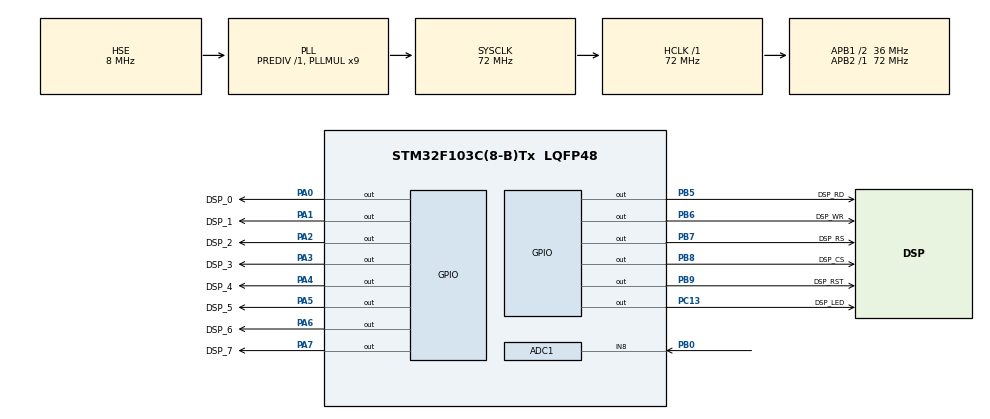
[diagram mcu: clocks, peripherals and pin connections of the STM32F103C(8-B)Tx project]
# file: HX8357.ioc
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ADC1.Channel-0\#ChannelRegularConversion=ADC_CHANNEL_8
ADC1.ExternalTrigConv=ADC_EXTERNALTRIGCONV_T3_TRGO
ADC1.NbrOfConversionFlag=1
ADC1.Rank-0\#ChannelRegularConversion=1
ADC1.SamplingTime-0\#ChannelRegularConversion=ADC_SAMPLETIME_1CYCLE_5
ADC1.master=1
Mcu.Family=STM32F1
Mcu.Name=STM32F103C(8-B)Tx
Mcu.Package=LQFP48
NVIC.PriorityGroup=NVIC_PRIORITYGROUP_4
NVIC.TIM3_IRQn=true\:0\:0\:false\:false\:true
PA0-WKUP.GPIO_Label=DSP_0
PA0-WKUP.GPIO_ModeDefaultOutputPP=GPIO_MODE_OUTPUT_PP
PA0-WKUP.GPIO_Speed=GPIO_SPEED_FREQ_HIGH
PA0-WKUP.PinState=GPIO_PIN_RESET
PA0-WKUP.Signal=GPIO_Output
PA1.GPIO_Label=DSP_1
PA1.GPIO_ModeDefaultOutputPP=GPIO_MODE_OUTPUT_PP
PA1.GPIO_Speed=GPIO_SPEED_FREQ_HIGH
PA1.PinState=GPIO_PIN_RESET
PA1.Signal=GPIO_Output
PA13.Mode=Serial_Wire
PA13.Signal=SYS_JTMS-SWDIO
PA14.Mode=Serial_Wire
PA14.Signal=SYS_JTCK-SWCLK
PA2.GPIO_Label=DSP_2
PA2.GPIO_ModeDefaultOutputPP=GPIO_MODE_OUTPUT_PP
PA2.GPIO_Speed=GPIO_SPEED_FREQ_HIGH
PA2.PinState=GPIO_PIN_RESET
PA2.Signal=GPIO_Output
PA3.GPIO_Label=DSP_3
PA3.GPIO_ModeDefaultOutputPP=GPIO_MODE_OUTPUT_PP
PA3.GPIO_Speed=GPIO_SPEED_FREQ_HIGH
PA3.PinState=GPIO_PIN_RESET
PA3.Signal=GPIO_Output
PA4.GPIO_Label=DSP_4
PA4.GPIO_ModeDefaultOutputPP=GPIO_MODE_OUTPUT_PP
PA4.GPIO_Speed=GPIO_SPEED_FREQ_HIGH
PA4.PinState=GPIO_PIN_RESET
PA4.Signal=GPIO_Output
PA5.GPIO_Label=DSP_5
PA5.GPIO_ModeDefaultOutputPP=GPIO_MODE_OUTPUT_PP
PA5.GPIO_Speed=GPIO_SPEED_FREQ_HIGH
PA5.PinState=GPIO_PIN_RESET
PA5.Signal=GPIO_Output
PA6.GPIO_Label=DSP_6
PA6.GPIO_ModeDefaultOutputPP=GPIO_MODE_OUTPUT_PP
PA6.GPIO_Speed=GPIO_SPEED_FREQ_HIGH
PA6.PinState=GPIO_PIN_RESET
PA6.Signal=GPIO_Output
PA7.GPIO_Label=DSP_7
PA7.GPIO_ModeDefaultOutputPP=GPIO_MODE_OUTPUT_PP
PA7.GPIO_Speed=GPIO_SPEED_FREQ_HIGH
PA7.PinState=GPIO_PIN_RESET
PA7.Signal=GPIO_Output
PB0.Signal=ADCx_IN8
PB5.GPIO_Label=DSP_RD
PB5.GPIO_ModeDefaultOutputPP=GPIO_MODE_OUTPUT_PP
PB5.GPIO_Speed=GPIO_SPEED_FREQ_HIGH
PB5.PinState=GPIO_PIN_RESET
PB5.Signal=GPIO_Output
PB6.GPIO_Label=DSP_WR
PB6.GPIO_ModeDefaultOutputPP=GPIO_MODE_OUTPUT_PP
PB6.GPIO_Speed=GPIO_SPEED_FREQ_HIGH
PB6.PinState=GPIO_PIN_RESET
PB6.Signal=GPIO_Output
PB7.GPIO_Label=DSP_RS
PB7.GPIO_ModeDefaultOutputPP=GPIO_MODE_OUTPUT_PP
PB7.GPIO_Speed=GPIO_SPEED_FREQ_HIGH
PB7.PinState=GPIO_PIN_RESET
PB7.Signal=GPIO_Output
PB8.GPIO_Label=DSP_CS
PB8.GPIO_ModeDefaultOutputPP=GPIO_MODE_OUTPUT_PP
PB8.GPIO_Speed=GPIO_SPEED_FREQ_HIGH
PB8.PinState=GPIO_PIN_RESET
PB8.Signal=GPIO_Output
PB9.GPIO_Label=DSP_RST
PB9.GPIO_ModeDefaultOutputPP=GPIO_MODE_OUTPUT_PP
PB9.GPIO_Speed=GPIO_SPEED_FREQ_HIGH
PB9.PinState=GPIO_PIN_RESET
PB9.Signal=GPIO_Output
PC13-TAMPER-RTC.GPIO_Label=DSP_LED
PC13-TAMPER-RTC.GPIO_ModeDefaultOutputPP=GPIO_MODE_OUTPUT_PP
PC13-TAMPER-RTC.GPIO_Speed=GPIO_SPEED_FREQ_HIGH
PC13-TAMPER-RTC.PinState=GPIO_PIN_RESET
PC13-TAMPER-RTC.Signal=GPIO_Output
PD0-OSC_IN.Mode=HSE-External-Oscillator
PD0-OSC_IN.Signal=RCC_OSC_IN
PD1-OSC_OUT.Mode=HSE-External-Oscillator
PD1-OSC_OUT.Signal=RCC_OSC_OUT
ProjectManager.HeapSize=0x200
ProjectManager.StackSize=0x400
ProjectManager.TargetToolchain=Makefile
RCC.ADCPresc=RCC_ADCPCLK2_DIV6
RCC.AHBFreq_Value=72000000
RCC.APB1CLKDivider=RCC_HCLK_DIV2
RCC.APB1Freq_Value=36000000
RCC.APB1TimFreq_Value=72000000
RCC.APB2Freq_Value=72000000
RCC.APB2TimFreq_Value=72000000
RCC.HCLKFreq_Value=72000000
RCC.PLLMUL=RCC_PLL_MUL9
RCC.PLLSourceVirtual=RCC_PLLSOURCE_HSE
RCC.SYSCLKFreq_VALUE=72000000
RCC.SYSCLKSource=RCC_SYSCLKSOURCE_PLLCLK
RCC.USBFreq_Value=72000000
SH.ADCx_IN8.0=ADC1_IN8,IN8
TIM3.Period=10
TIM3.Prescaler=64-1
TIM3.TIM_MasterOutputTrigger=TIM_TRGO_UPDATE
VP_TIM3_VS_ClockSourceINT.Mode=Internal
board=HX8357

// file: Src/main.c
/**
  ******************************************************************************
  * File Name          : main.c
  * Description        : Main program body
  ******************************************************************************
  ** This notice applies to any and all portions of this file
  * that are not between comment pairs USER CODE BEGIN and
  * USER CODE END. Other portions of this file, whether
  * inserted by the user or by software development tools
  * are owned by their respective copyright owners.
  *
  * COPYRIGHT(c) 2018 STMicroelectronics
  *
  * Redistribution and use in source and binary forms, with or without modification,
  * are permitted provided that the following conditions are met:
  *   1. Redistributions of source code must retain the above copyright notice,
  *      this list of conditions and the following disclaimer.
  *   2. Redistributions in binary form must reproduce the above copyright notice,
  *      this list of conditions and the following disclaimer in the documentation
  *      and/or other materials provided with the distribution.
  *   3. Neither the name of STMicroelectronics nor the names of its contributors
  *      may be used to endorse or promote products derived from this software
  *      without specific prior written permission.
  *
  * THIS SOFTWARE IS PROVIDED BY THE COPYRIGHT HOLDERS AND CONTRIBUTORS "AS IS"
  * AND ANY EXPRESS OR IMPLIED WARRANTIES, INCLUDING, BUT NOT LIMITED TO, THE
  * IMPLIED WARRANTIES OF MERCHANTABILITY AND FITNESS FOR A PARTICULAR PURPOSE ARE
  * DISCLAIMED. IN NO EVENT SHALL THE COPYRIGHT HOLDER OR CONTRIBUTORS BE LIABLE
  * FOR ANY DIRECT, INDIRECT, INCIDENTAL, SPECIAL, EXEMPLARY, OR CONSEQUENTIAL
  * DAMAGES (INCLUDING, BUT NOT LIMITED TO, PROCUREMENT OF SUBSTITUTE GOODS OR
  * SERVICES; LOSS OF USE, DATA, OR PROFITS; OR BUSINESS INTERRUPTION) HOWEVER
  * CAUSED AND ON ANY THEORY OF LIABILITY, WHETHER IN CONTRACT, STRICT LIABILITY,
  * OR TORT (INCLUDING NEGLIGENCE OR OTHERWISE) ARISING IN ANY WAY OUT OF THE USE
  * OF THIS SOFTWARE, EVEN IF ADVISED OF THE POSSIBILITY OF SUCH DAMAGE.
  *
  ******************************************************************************
  */
#include "main.h"
#include "stm32f1xx_hal.h"
#include "adc.h"
#include "tim.h"
#include "gpio.h"

/* USER CODE BEGIN Includes */
#include <math.h>
#include "hx8357.h"
#include "utoa.h"
// #include "myimage.h"

#define M_PI 3.14159
/* USER CODE END Includes */

/* USER CODE BEGIN PV */
/* Private variables ---------------------------------------------------------*/
extern TIM_HandleTypeDef htim3;
extern uint16_t BACK_COLOR,POINT_COLOR;
extern uint16_t tft_W;
extern uint16_t tft_H;

uint32_t adcResult = 0;
uint32_t max_result = 0;
float real_result[480] = {0};

uint16_t adc_counter = 0;
uint16_t i = 0;

uint16_t buff_clean[480] = {0};
//uint16_t coord_x[480] = {0};
uint16_t buff_ray[480] = {0};

void write_text(uint16_t i);
void write_grid(void);

void fill_buff(uint16_t i)
{
  while(adc_counter < 48) // Пока количество измерений меньше N
  {
    adcResult += HAL_ADC_GetValue(&hadc1); // Сумируем полученные значения ацп
    adc_counter++; // Увеличиваем счетчик измерений
  }

  buff_ray[i] = tft_H-45-adcResult/adc_counter/18; // Вычисляем среднее значение
  real_result[i] = adcResult/adc_counter*0.82; // 3300/4096=0.80566 Вычисляем среднее значение

  // if(real_result[i]<500) real_result[i] = 0;
  // if(real_result[i]>500) real_result[i] -= 500;
  // real_result[i] *= .4; // значение в барах

  adcResult = 0; // Обнуляем значение
  adc_counter = 0; // Обнуляем счетчик измерений
  if(real_result[i]>max_result) max_result = real_result[i]; // save max value
}

void rotate_buff(uint16_t r)
{
    uint16_t tmp;
    for(i = 0; i < r; i++) // scroll buff_ray
    {
      tmp = buff_ray[tft_W-1];
      for(uint16_t i = tft_W-1; i; i--)
      {
        buff_ray[i] = buff_ray[i-1];
      }
      buff_ray[0] = tmp;
    }
}

void write_graph(uint16_t i)
{
  //write_text(i);
  if(i>0 && i < tft_W-0){ // clean old ray
    //tft_draw_point_big(i, buff_clean[i],COLOR_BLACK); //зарисовка предыдущего луча;
    //tft_draw_line_slim(i+1, buff_clean[i+1], i, buff_clean[i], COLOR_BLACK); //зарисовка предыдущего луча;
    tft_draw_dot_line(i+1, buff_clean[i+1], i, buff_clean[i], COLOR_BLACK); //зарисовка предыдущего луча;
  }
  if(i>2 && i < tft_W-2){ // draw new ray
    //tft_draw_point_big(i, buff_ray[i], COLOR_WHITE); //прорисовка текущего луча;
    //tft_draw_line_slim(i, buff_ray[i], i-1, buff_ray[i-1], COLOR_WHITE); //прорисовка текущего луча;
    tft_draw_dot_line(i, buff_ray[i], i-1, buff_ray[i-1], COLOR_WHITE); //прорисовка текущего луча;
  }
  buff_clean[i]=buff_ray[i];
}

void write_grid(void)
{
  for(uint16_t x = 32;x<tft_H-31;x+=8)for(uint16_t i = 16; i<tft_W-15; i+=64)tft_draw_point(i, x, COLOR_GRAYBLUE); //draw vertical dot line
  for(uint16_t x = 32;x<tft_H-31;x+=64)for(uint16_t i = 16; i<tft_W-15; i+=8)tft_draw_point(i, x, COLOR_WHITE); //draw horizontal dot line
}

void write_text(uint16_t i) // for text data
{
  char lbl_real[16] = "mv";
  BACK_COLOR=COLOR_BLUE;
  POINT_COLOR=COLOR_GREEN;
  tft_puts18x32(0,110,(int8_t*)lbl_real,TFT_STRING_MODE_BACKGROUND);

  char real_mv[16];
  utoa((int)real_result[i], real_mv, 10);
  if(real_result[i]<1000)tft_fill_fast(1,62,32,80,BACK_COLOR); //x1 y1 x2 y2
  if(real_result[i]<100) tft_fill_fast(1,44,32,80,BACK_COLOR); //x1 y1 x2 y2
  if(real_result[i]<10)  tft_fill_fast(1,26,32,80,BACK_COLOR); //x1 y1 x2 y2
  tft_puts18x32(0,10,(int8_t*)real_mv,TFT_STRING_MODE_BACKGROUND);
}

/* USER CODE END PV */

void SystemClock_Config(void);

/* USER CODE BEGIN PFP */
/* Private function prototypes -----------------------------------------------*/

/* USER CODE END PFP */

int main(void)
{

  /* MCU Configuration----------------------------------------------------------*/

  /* Reset of all peripherals, Initializes the Flash interface and the Systick. */
  HAL_Init();

  /* Configure the system clock */
  SystemClock_Config();

  /* Initialize all configured peripherals */
  MX_GPIO_Init();
  MX_TIM3_Init();
  MX_ADC1_Init();

  /* USER CODE BEGIN 2 */
  tft_init();
  tft_SetRotation(1);
  //tft_clear(COLOR_BLACK);
  tft_clear_fast(COLOR_BLACK);

  tft_draw_rectangle(31,0,0,tft_W,COLOR_RED);
  tft_fill_fast(1,1,30,tft_W-1,COLOR_BLUE); // x1,y1,x2,y2

  tft_draw_rectangle(tft_H-31,0,tft_H,tft_W,COLOR_RED);
  tft_fill_fast(tft_H-30,1,tft_H-1,tft_W-1,COLOR_BLUE);

  write_grid(); // draw grid
  write_text(i); // draw label & voltage measurement

  BACK_COLOR=COLOR_RED;
  POINT_COLOR=COLOR_BLUE;
  tft_putchar(tft_W/2,20,'A',TFT_STRING_MODE_NO_BACKGROUND);

  /* USER CODE END 2 */

  /* Infinite loop */
  /* USER CODE BEGIN WHILE */
  HAL_TIM_Base_Init(&htim3);
  HAL_TIM_PeriodElapsedCallback(&htim3);
  HAL_TIM_Base_Start_IT(&htim3); //запустим таймер
  HAL_ADC_Start(&hadc1);//запустим аналогово-цифровое преобразование

  while (1)
  {

  /* USER CODE END WHILE */

  /* USER CODE BEGIN 3 */
    float t, a1, a2;

    t = 3300/2; // порог в миливольтах
    fill_buff(0); a1 = real_result[0];
    fill_buff(0); a2 = real_result[0];

    while (!((a1 < t) && (a2 >= t))) // т.е. было ниже порога, а стало больше или равно - был переход через порог
    {
      a1 = a2;
      fill_buff(0); a2 = real_result[0];
    }

    rotate_buff(5); // scrolling buffer

    for(uint16_t i = 0; i < tft_W; i++) // measurement
    {
      fill_buff(i);
    }

    for(uint16_t i = 0; i < tft_W; i++) // display redraw
    {
      write_graph(i);
    }

    write_grid(); // upgrade grid
    write_text(i); // upgrade label & voltage measurement

  }
  /* USER CODE END 3 */

}

/** System Clock Configuration
*/
void SystemClock_Config(void)
{

  RCC_OscInitTypeDef RCC_OscInitStruct;
  RCC_ClkInitTypeDef RCC_ClkInitStruct;
  RCC_PeriphCLKInitTypeDef PeriphClkInit;

    /**Initializes the CPU, AHB and APB busses clocks
    */
  RCC_OscInitStruct.OscillatorType = RCC_OSCILLATORTYPE_HSE;
  RCC_OscInitStruct.HSEState = RCC_HSE_ON;
  RCC_OscInitStruct.HSEPredivValue = RCC_HSE_PREDIV_DIV1;
  RCC_OscInitStruct.HSIState = RCC_HSI_ON;
  RCC_OscInitStruct.PLL.PLLState = RCC_PLL_ON;
  RCC_OscInitStruct.PLL.PLLSource = RCC_PLLSOURCE_HSE;
  RCC_OscInitStruct.PLL.PLLMUL = RCC_PLL_MUL9;
  if (HAL_RCC_OscConfig(&RCC_OscInitStruct) != HAL_OK)
  {
    _Error_Handler(__FILE__, __LINE__);
  }

    /**Initializes the CPU, AHB and APB busses clocks
    */
  RCC_ClkInitStruct.ClockType = RCC_CLOCKTYPE_HCLK|RCC_CLOCKTYPE_SYSCLK
                              |RCC_CLOCKTYPE_PCLK1|RCC_CLOCKTYPE_PCLK2;
  RCC_ClkInitStruct.SYSCLKSource = RCC_SYSCLKSOURCE_PLLCLK;
  RCC_ClkInitStruct.AHBCLKDivider = RCC_SYSCLK_DIV1;
  RCC_ClkInitStruct.APB1CLKDivider = RCC_HCLK_DIV2;
  RCC_ClkInitStruct.APB2CLKDivider = RCC_HCLK_DIV1;

  if (HAL_RCC_ClockConfig(&RCC_ClkInitStruct, FLASH_LATENCY_2) != HAL_OK)
  {
    _Error_Handler(__FILE__, __LINE__);
  }

  PeriphClkInit.PeriphClockSelection = RCC_PERIPHCLK_ADC;
  PeriphClkInit.AdcClockSelection = RCC_ADCPCLK2_DIV6;
  if (HAL_RCCEx_PeriphCLKConfig(&PeriphClkInit) != HAL_OK)
  {
    _Error_Handler(__FILE__, __LINE__);
  }

    /**Configure the Systick interrupt time
    */
  HAL_SYSTICK_Config(HAL_RCC_GetHCLKFreq()/1000);

    /**Configure the Systick
    */
  HAL_SYSTICK_CLKSourceConfig(SYSTICK_CLKSOURCE_HCLK);

  /* SysTick_IRQn interrupt configuration */
  HAL_NVIC_SetPriority(SysTick_IRQn, 0, 0);
}

void _Error_Handler(char * file, int line)
{
  while(1)
  {
  }
}

/************************ (C) COPYRIGHT STMicroelectronics *****END OF FILE****/
